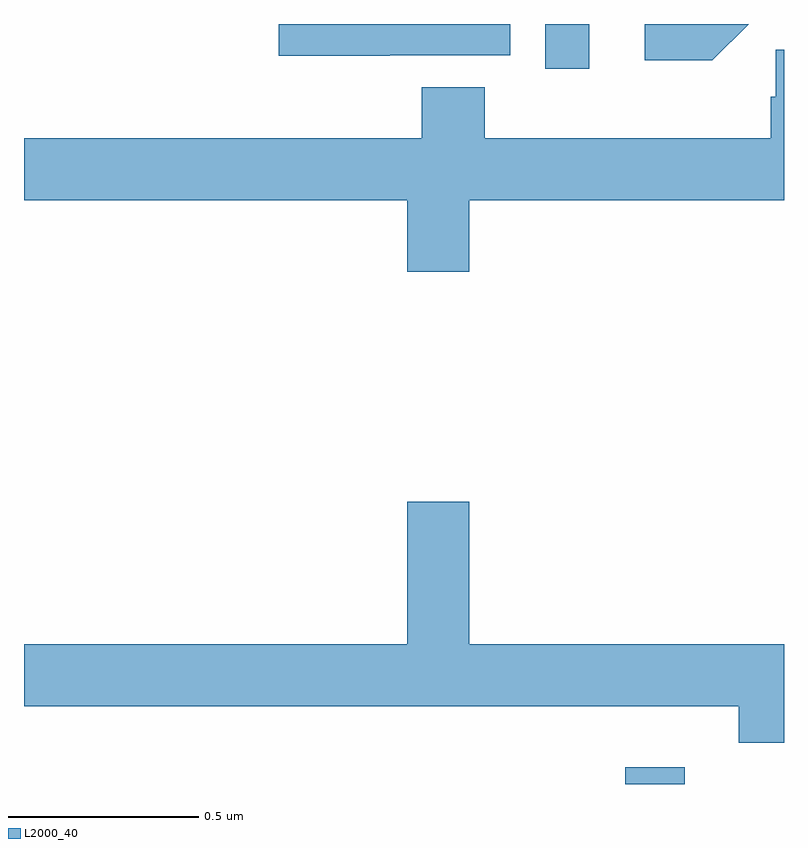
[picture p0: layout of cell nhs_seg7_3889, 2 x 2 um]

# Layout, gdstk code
import gdstk
lib = gdstk.Library(unit=1e-6, precision=1e-09)
def R(c, l, rs):  # rectangles x0, y0, x1, y1
    for r in rs: c.add(gdstk.rectangle(r[:2], r[2:], *l))
def P(c, l, *ps):  # polygons
    for p in ps: c.add(gdstk.Polygon(p, *l))
L2000_40 = (2000, 40)

nhs_seg7_3889 = lib.new_cell('nhs_seg7_3889')
R(nhs_seg7_3889, L2000_40, [(165.582,1079,165.739,1079.044), (165.372,1080.882,165.487,1081)])
P(nhs_seg7_3889, L2000_40, [(165.907,1081),(165.633,1081),(165.633,1080.905),(165.811,1080.905)],
  [(164.963,1080.918),(165.279,1080.918),(165.279,1081),(164.671,1081),(164.671,1080.917),(164.963,1080.917)],
  [(165.172,1080.536),(166,1080.536),(166,1080.932),(165.978,1080.932),(165.978,1080.809),(165.965,1080.809),(165.965,1080.7),(165.212,1080.7),(165.212,1080.833),(165.047,1080.833),(165.047,1080.7),(164,1080.7),(164,1080.536),(165.008,1080.536),(165.008,1080.348),(165.172,1080.348)],
  [(165.008,1079.743),(165.008,1079.368),(164,1079.368),(164,1079.204),(165.881,1079.204),(165.881,1079.109),(166,1079.109),(166,1079.368),(165.172,1079.368),(165.172,1079.743)])

lib.write_gds('nhs_seg7_3889.gds')
